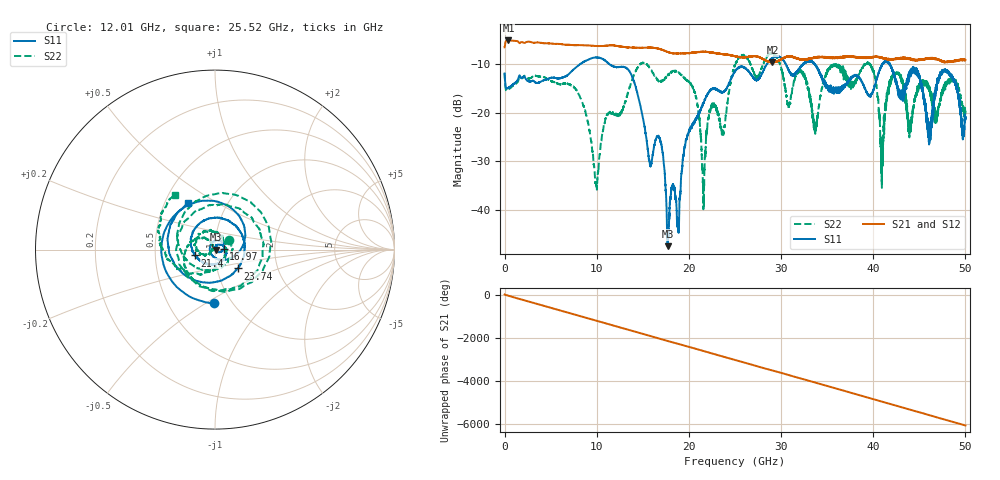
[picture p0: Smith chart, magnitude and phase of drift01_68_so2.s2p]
!Created with skrf (http://scikit-rf.org).
# Hz S RI R 50.0
!freq ReS11 ImS11 ReS21 ImS21 ReS12 ImS12 ReS22 ImS22
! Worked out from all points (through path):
!   10001 points, 300 kHz to 50 GHz, reference 50 ohm
!   highest |S21| = -5.05 dB at 410.3 MHz (marker M1); lowest = -9.6 dB at 29.06 GHz (marker M2)
!   group delay of S21, straight-line fit = 336 ps
!   lowest |S11| = -47.5 dB at 17.69 GHz (marker M3), VSWR 1.01, Z = 50.4 - j0.113 ohm
!   |S11| at or under -10 dB: start of sweep to 8.151 GHz; 11.43 GHz to 28.42 GHz (16.99 GHz wide, 85.3 % of centre); 41.82 GHz to end of sweep (the widest 3 of 14)
!   |S22| runs from -39.8 to -7.6 dB; largest |S21 - S12| = 0.014
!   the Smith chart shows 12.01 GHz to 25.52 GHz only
!   S11 on the Smith chart (normalised r, x): 12.01 GHz: 0.83, -0.54; 16.97 GHz: 1.10, +0.01; 21.4 GHz: 0.80, -0.05; 23.74 GHz: 1.26, -0.27; 25.52 GHz: 0.65, +0.37
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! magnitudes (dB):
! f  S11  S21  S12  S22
! 300 kHz  -11.9  -6.5  -6.5  -11.8
! 410.3 MHz  -14.8  -5.1  -5.1  -15.2
! 8.335 GHz  -9.8  -6.0  -6.0  -17.4
! 9.945 GHz  -8.6  -6.2  -6.2  -34.8
! 12.01 GHz  -10.5  -6.1  -6.1  -20.5
! 16.67 GHz  -24.7  -6.7  -6.7  -13.4
! 16.97 GHz  -26.2  -6.9  -6.9  -13.4
! 17.69 GHz  -47.5  -7.4  -7.4  -12.3
! 20.47 GHz  -22.3  -7.5  -7.5  -15.0
! 21.4 GHz  -18.7  -7.4  -7.4  -29.8
! 22.48 GHz  -15.0  -7.6  -7.6  -18.8
! 23.74 GHz  -15.7  -7.9  -7.9  -24.3
! 25 GHz  -11.4  -8.3  -8.3  -10.2
! 25.52 GHz  -10.5  -8.5  -8.5  -8.5
! 29.06 GHz  -8.7  -9.6  -9.6  -7.7
! 33.34 GHz  -9.5  -8.7  -8.7  -19.4
! 39.49 GHz  -16.3  -8.6  -8.6  -9.8
! 40.97 GHz  -10.1  -8.6  -8.7  -28.8
! 41.67 GHz  -9.6  -8.8  -8.9  -14.6
! 46.1 GHz  -25.7  -8.8  -8.7  -14.7
! 48.03 GHz  -11.7  -9.4  -9.5  -13.7
! 50 GHz  -21.2  -9.1  -9.1  -20.3
